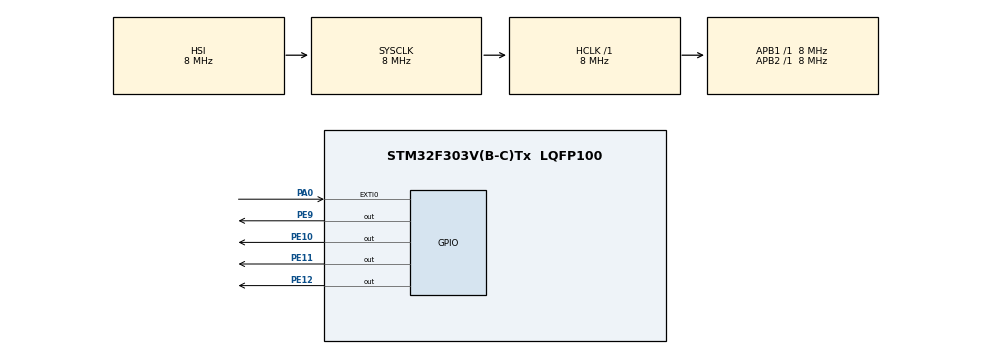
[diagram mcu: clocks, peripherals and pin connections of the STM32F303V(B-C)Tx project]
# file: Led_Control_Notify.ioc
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FREERTOS.Tasks01=defaultTask,0,128,StartDefaultTask,Default,NULL,Dynamic,NULL,NULL
Mcu.Family=STM32F3
Mcu.Name=STM32F303V(B-C)Tx
Mcu.Package=LQFP100
NVIC.EXTI0_IRQn=true\:5\:0\:false\:false\:true\:true\:true\:true\:true
NVIC.PriorityGroup=NVIC_PRIORITYGROUP_4
PA0.Signal=GPXTI0
PE10.Signal=GPIO_Output
PE11.Signal=GPIO_Output
PE12.Signal=GPIO_Output
PE9.Signal=GPIO_Output
ProjectManager.HeapSize=0x200
ProjectManager.StackSize=0x400
ProjectManager.TargetToolchain=STM32CubeIDE
RCC.AHBFreq_Value=8000000
RCC.APB1Freq_Value=8000000
RCC.APB2Freq_Value=8000000
RCC.CortexFreq_Value=8000000
RCC.HSE_VALUE=8000000
RCC.HSI_VALUE=8000000
RCC.LSE_VALUE=32768
RCC.SYSCLKFreq_VALUE=8000000
VP_FREERTOS_VS_CMSIS_V1.Mode=CMSIS_V1
board=custom

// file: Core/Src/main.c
/* USER CODE BEGIN Header */
/**
  ******************************************************************************
  * @file           : main.c
  * @brief          : Main program body
  ******************************************************************************
  * @attention
  *
  * Copyright (c) 2023 STMicroelectronics.
  * All rights reserved.
  *
  * This software is licensed under terms that can be found in the LICENSE file
  * in the root directory of this software component.
  * If no LICENSE file comes with this software, it is provided AS-IS.
  *
  ******************************************************************************
  */
/* USER CODE END Header */
#include "main.h"
#include "cmsis_os.h"

/* USER CODE BEGIN Includes */
#include "FreeRTOS.h"
#include "task.h"
/* USER CODE END Includes */

void SystemClock_Config(void);
static void MX_GPIO_Init(void);

/* USER CODE BEGIN PFP */

TaskHandle_t ledHandle=NULL;
TaskHandle_t buttonHandle=NULL;
 uint8_t count=0;

void led(void*params);
void button(void*params);
/* USER CODE END PFP */

/* USER CODE BEGIN 0 */
void EXTI0_IRQHandler(void)
{

  HAL_GPIO_EXTI_IRQHandler(GPIO_PIN_0);

  if(count>1){

	  count=0;

  }

  if(HAL_GPIO_ReadPin(GPIOA, GPIO_PIN_0)){
	  if(!(HAL_GPIO_ReadPin(GPIOA, GPIO_PIN_0)));
	  count++;

  }

}
/* USER CODE END 0 */

int main(void)
{

  /* MCU Configuration--------------------------------------------------------*/

  /* Reset of all peripherals, Initializes the Flash interface and the Systick. */
  HAL_Init();

  /* Configure the system clock */
  SystemClock_Config();

  /* Initialize all configured peripherals */
  MX_GPIO_Init();

  /* Create the thread(s) */
  /* definition and creation of defaultTask */

  /* USER CODE BEGIN RTOS_THREADS */
  /* add threads, ... */

  xTaskCreate(led, "led", 350, NULL, 4, &ledHandle);
  xTaskCreate(button, "button", 350, NULL, 4, &buttonHandle);
  vTaskStartScheduler();

  /* USER CODE END RTOS_THREADS */

  /* Start scheduler */
  osKernelStart();
  /* We should never get here as control is now taken by the scheduler */
  /* Infinite loop */
  while (1)
  {

  }
}

void SystemClock_Config(void)
{
  RCC_OscInitTypeDef RCC_OscInitStruct = {0};
  RCC_ClkInitTypeDef RCC_ClkInitStruct = {0};

  /** Initializes the RCC Oscillators according to the specified parameters
  * in the RCC_OscInitTypeDef structure.
  */
  RCC_OscInitStruct.OscillatorType = RCC_OSCILLATORTYPE_HSI;
  RCC_OscInitStruct.HSIState = RCC_HSI_ON;
  RCC_OscInitStruct.HSICalibrationValue = RCC_HSICALIBRATION_DEFAULT;
  RCC_OscInitStruct.PLL.PLLState = RCC_PLL_NONE;
  if (HAL_RCC_OscConfig(&RCC_OscInitStruct) != HAL_OK)
  {
    Error_Handler();
  }

  /** Initializes the CPU, AHB and APB buses clocks
  */
  RCC_ClkInitStruct.ClockType = RCC_CLOCKTYPE_HCLK|RCC_CLOCKTYPE_SYSCLK
                              |RCC_CLOCKTYPE_PCLK1|RCC_CLOCKTYPE_PCLK2;
  RCC_ClkInitStruct.SYSCLKSource = RCC_SYSCLKSOURCE_HSI;
  RCC_ClkInitStruct.AHBCLKDivider = RCC_SYSCLK_DIV1;
  RCC_ClkInitStruct.APB1CLKDivider = RCC_HCLK_DIV1;
  RCC_ClkInitStruct.APB2CLKDivider = RCC_HCLK_DIV1;

  if (HAL_RCC_ClockConfig(&RCC_ClkInitStruct, FLASH_LATENCY_0) != HAL_OK)
  {
    Error_Handler();
  }
}

static void MX_GPIO_Init(void)
{
  GPIO_InitTypeDef GPIO_InitStruct = {0};

  /* GPIO Ports Clock Enable */
  __HAL_RCC_GPIOA_CLK_ENABLE();
  __HAL_RCC_GPIOE_CLK_ENABLE();

  /*Configure GPIO pin Output Level */
  HAL_GPIO_WritePin(GPIOE, GPIO_PIN_9|GPIO_PIN_10|GPIO_PIN_11|GPIO_PIN_12, GPIO_PIN_RESET);

  /*Configure GPIO pin : PA0 */
  GPIO_InitStruct.Pin = GPIO_PIN_0;
  GPIO_InitStruct.Mode = GPIO_MODE_IT_RISING;
  GPIO_InitStruct.Pull = GPIO_NOPULL;
  HAL_GPIO_Init(GPIOA, &GPIO_InitStruct);

  /*Configure GPIO pins : PE9 PE10 PE11 PE12 */
  GPIO_InitStruct.Pin = GPIO_PIN_9|GPIO_PIN_10|GPIO_PIN_11|GPIO_PIN_12;
  GPIO_InitStruct.Mode = GPIO_MODE_OUTPUT_PP;
  GPIO_InitStruct.Pull = GPIO_NOPULL;
  GPIO_InitStruct.Speed = GPIO_SPEED_FREQ_LOW;
  HAL_GPIO_Init(GPIOE, &GPIO_InitStruct);

  /* EXTI interrupt init*/
  HAL_NVIC_SetPriority(EXTI0_IRQn, 5, 0);
  HAL_NVIC_EnableIRQ(EXTI0_IRQn);

}

/* USER CODE BEGIN 4 */

void button(void*params){

	while(1){

		if(count==1){

			osSignalSet(ledHandle, 0x00);

		}

	}

}

void led(void *params){

	while(1){

		if(osSignalWait(0, 100).status==osEventSignal){

			HAL_GPIO_WritePin(GPIOE, GPIO_PIN_9 | GPIO_PIN_10 | GPIO_PIN_11 | GPIO_PIN_12,GPIO_PIN_SET);

		}
		else
			HAL_GPIO_WritePin(GPIOE, GPIO_PIN_9 | GPIO_PIN_10 | GPIO_PIN_11 | GPIO_PIN_12,GPIO_PIN_RESET);

	}

}

/* USER CODE END 4 */

void StartDefaultTask(void const * argument)
{
  for(;;)
  {
    osDelay(1);
  }
}

void Error_Handler(void)
{
  __disable_irq();
  while (1)
  {
  }
}
